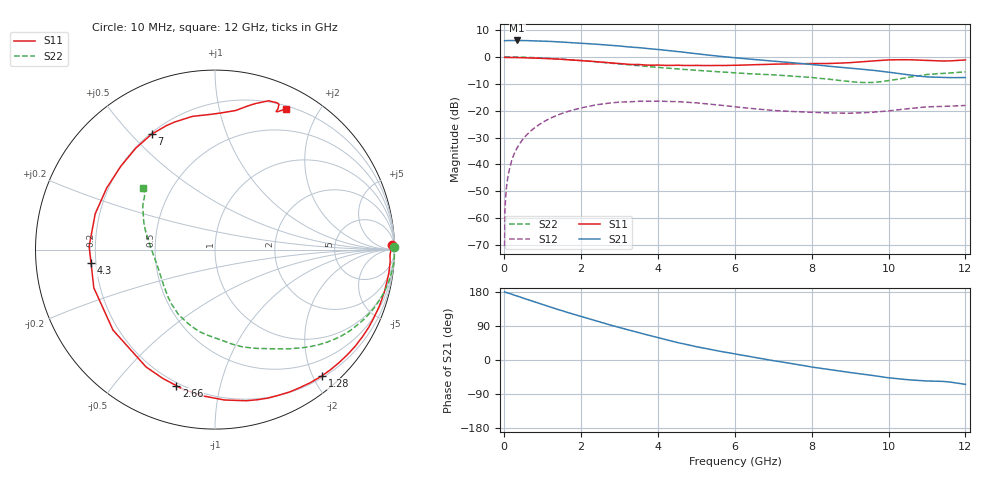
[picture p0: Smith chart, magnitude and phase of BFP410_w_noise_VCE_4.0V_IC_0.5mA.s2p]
! Infineon Technologies  Discrete & RF Semiconductors
! BFP410
! VCE =  4.0 V,  IC =  0.5 mA
! Common Emitter S-Parameters:  Nov 2015
# GHz  S  MA  R  50
!  f  S11  S21  S12  S22
! GHz  MAG  ANG  MAG  ANG  MAG  ANG  MAG  ANG
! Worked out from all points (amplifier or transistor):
!   243 points, 10 MHz to 12 GHz, reference 50 ohm
!   highest |S21| = 6.1 dB at 340 MHz (marker M1)
!   |S21| within 3 dB of that: start of sweep to 3.716 GHz
!   unconditionally stable (mu >= 1): 4.846 GHz to end of sweep
!   at 240 MHz: K = 0.02, MSG = 21.4 dB, |S12| = -36.8 dB
!   at 1.84 GHz: K = 0.24, MSG = 12.4 dB, |S12| = -19.6 dB
!   at 12 GHz: K = 1.45, MAG = 1.2 dB, |S12| = -18.1 dB
!   lowest NFmin = 0.85 dB at 900 MHz
!   S11 on the Smith chart (normalised r, x): 10 MHz: 31, +60; 1.28 GHz: 0.23, -2.14; 2.66 GHz: 0.18, -0.74; 4.3 GHz: 0.18, -0.05; 7 GHz: 0.21, +0.57; 12 GHz: 0.23, +1.60
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0.01  0.9866 1.5  2.008 179.6  0.0003 37.7  1 0.9
0.015  0.9837 0.7  2.009 179.5  0.0008 79.0  0.9966 0.7
0.02  0.981 -0.2  2.011 179.5  0.0014 87.1  0.9933 0.5
0.04  0.9773 -1.2  2.01 178.4  0.0026 83.2  0.9977 -0.1
0.07  0.9767 -2.5  2.014 177.5  0.0044 85.3  0.9999 -0.9
0.19  0.9773 -7.0  2.025 173.8  0.0115 85.3  0.9989 -3.4
0.34  0.9733 -12.8  2.028 168.7  0.0205 82.6  0.9945 -6.2
0.7  0.9599 -26.7  2.012 156.5  0.0425 74.6  0.9769 -12.8
1.28  0.9213 -49.7  1.933 137.2  0.0768 60.6  0.9298 -22.7
2.02  0.8572 -79.1  1.792 114.3  0.1132 42.7  0.855 -34.0
2.66  0.7881 -105.9  1.67 95.3  0.1363 27.2  0.7794 -43.0
3.5  0.724 -141.7  1.491 71.9  0.1494 8.7  0.6864 -53.7
4.1  0.7004 -166.2  1.356 56.5  0.1495 -2.2  0.6308 -61.1
4.3  0.6947 -173.9  1.307 51.5  0.1482 -5.8  0.6139 -63.9
5  0.6966 163.4  1.15 35.0  0.1399 -16.9  0.5653 -73.9
6.1  0.7021 136.3  0.951 14.2  0.116 -27.2  0.4989 -87.8
7  0.7336 118.8  0.837 -1.7  0.1009 -28.7  0.4647 -101.0
8.2  0.7517 95.5  0.701 -21.4  0.0921 -26.0  0.4004 -123.8
9.4  0.8249 76.7  0.583 -38.3  0.0919 -19.0  0.3333 -160.3
10.2  0.8843 68.6  0.498 -48.9  0.1029 -15.8  0.3808 170.1
11  0.8609 65.9  0.425 -55.4  0.1177 -18.5  0.4711 148.7
12  0.8795 63.2  0.413 -64.3  0.125 -23.2  0.5277 139.7
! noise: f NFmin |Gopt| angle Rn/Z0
0.45  0.91  0.8  10  0.81
0.9  0.85  0.78  25  0.75
1.8  1.38  0.67  59  0.64
2.4  1.54  0.64  75  0.53
5.5  3.38  0.54  -159  0.23
